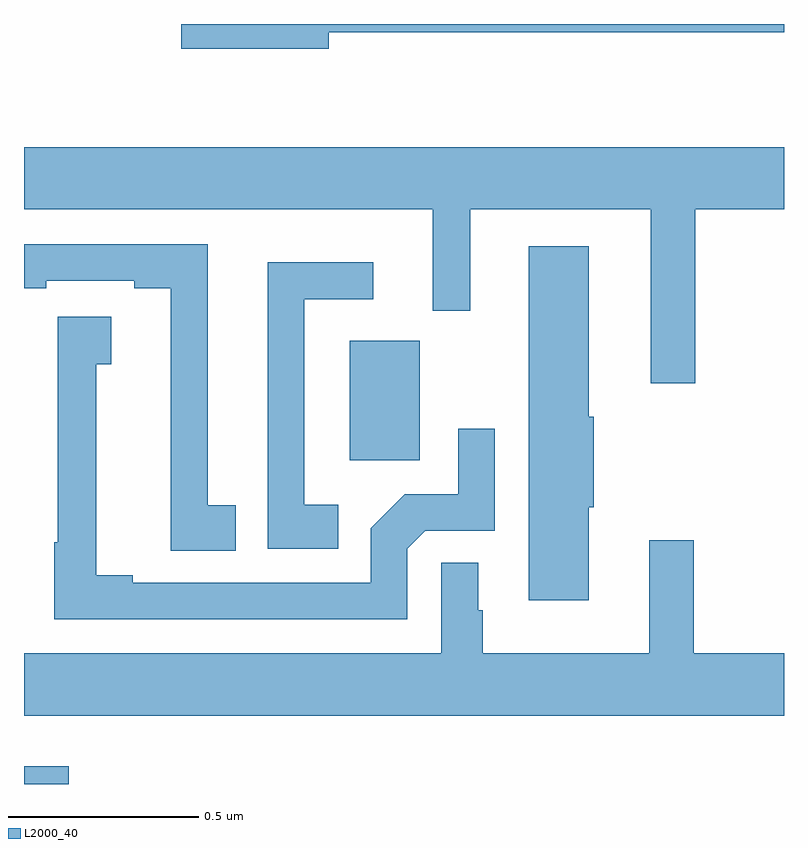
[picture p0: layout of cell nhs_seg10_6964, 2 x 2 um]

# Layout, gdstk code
import gdstk
lib = gdstk.Library(unit=1e-6, precision=1e-09)
def R(c, l, rs):  # rectangles x0, y0, x1, y1
    for r in rs: c.add(gdstk.rectangle(r[:2], r[2:], *l))
def P(c, l, *ps):  # polygons
    for p in ps: c.add(gdstk.Polygon(p, *l))
L2000_40 = (2000, 40)

nhs_seg10_6964 = lib.new_cell('nhs_seg10_6964')
R(nhs_seg10_6964, L2000_40, [(198,1269.5,198.118,1269.547), (198.857,1270.352,199.042,1270.666)])
P(nhs_seg10_6964, L2000_40, [(198.802,1271.478),(200,1271.478),(200,1271.5),(198.414,1271.5),(198.414,1271.435),(198.802,1271.435)],
  [(199.766,1271.012),(200,1271.012),(200,1271.176),(198,1271.176),(198,1271.012),(199.076,1271.012),(199.076,1270.746),(199.174,1270.746),(199.174,1271.012),(199.649,1271.012),(199.649,1270.554),(199.766,1270.554)],
  [(198.557,1270.233),(198.484,1270.233),(198.484,1270.92),(198,1270.92),(198,1270.804),(198.058,1270.804),(198.058,1270.824),(198.29,1270.824),(198.29,1270.804),(198.386,1270.804),(198.386,1270.114),(198.557,1270.114)],
  [(199.486,1270.228),(199.499,1270.228),(199.499,1270.466),(199.486,1270.466),(199.486,1270.915),(199.328,1270.915),(199.328,1269.984),(199.486,1269.984)],
  [(198.827,1270.235),(198.738,1270.235),(198.738,1270.776),(198.919,1270.776),(198.919,1270.873),(198.641,1270.873),(198.641,1270.322),(198.642,1270.322),(198.642,1270.119),(198.827,1270.119)],
  [(199.008,1270.119),(199.056,1270.167),(199.239,1270.167),(199.239,1270.435),(199.143,1270.435),(199.143,1270.263),(199.002,1270.263),(198.912,1270.173),(198.912,1270.029),(198.286,1270.029),(198.286,1270.049),(198.19,1270.049),(198.19,1270.604),(198.229,1270.604),(198.229,1270.729),(198.089,1270.729),(198.089,1270.136),(198.079,1270.136),(198.079,1269.933),(199.008,1269.933)],
  [(200,1269.844),(199.763,1269.844),(199.763,1270.141),(199.646,1270.141),(199.646,1269.844),(199.207,1269.844),(199.207,1269.957),(199.195,1269.957),(199.195,1270.082),(199.098,1270.082),(199.098,1269.844),(198,1269.844),(198,1269.68),(200,1269.68)])

lib.write_gds('nhs_seg10_6964.gds')
